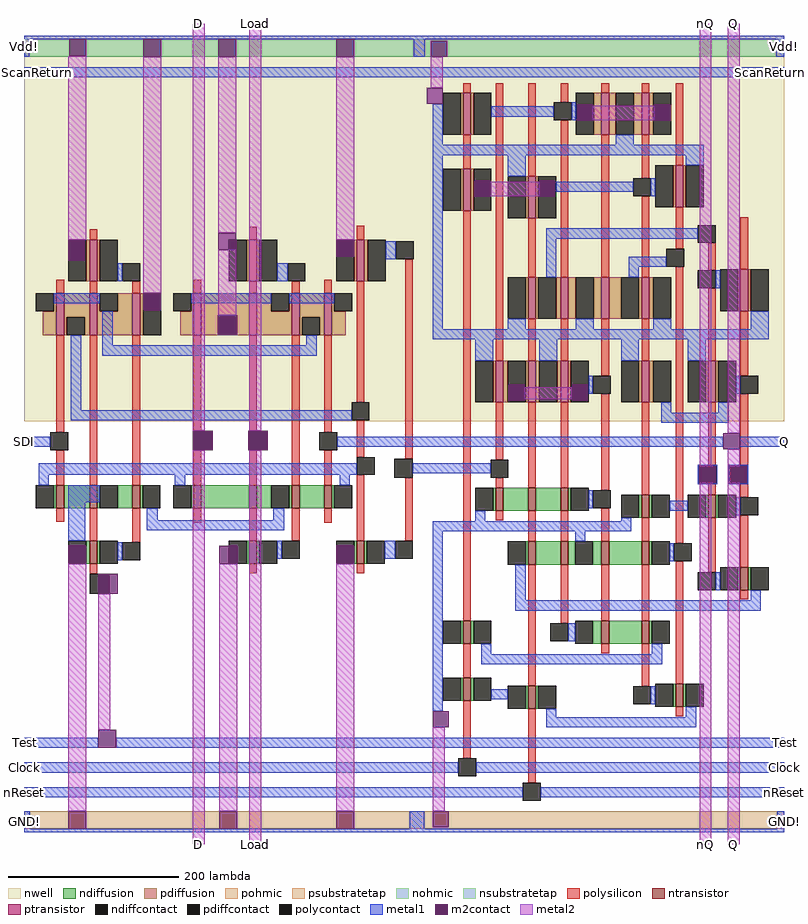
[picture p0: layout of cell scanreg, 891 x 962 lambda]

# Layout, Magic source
magic
tech tsmc180
<< nwell >>
rect 0 496 891 948
<< polysilicon >>
rect 515 881 524 892
rect 515 792 524 832
rect 77 709 86 721
rect 264 709 273 724
rect 390 709 399 725
rect 38 646 47 662
rect 77 646 86 660
rect 127 646 136 660
rect 199 646 208 662
rect 264 646 273 660
rect 314 646 323 660
rect 352 646 361 662
rect 38 483 47 597
rect 38 421 47 462
rect 77 421 86 597
rect 127 421 136 597
rect 199 485 208 597
rect 264 485 273 597
rect 199 421 208 462
rect 264 421 273 462
rect 314 421 323 597
rect 352 483 361 597
rect 390 518 399 660
rect 352 421 361 462
rect 390 454 399 497
rect 447 452 456 686
rect 38 378 47 394
rect 77 356 86 394
rect 127 354 136 394
rect 199 377 208 394
rect 264 356 273 394
rect 314 356 323 394
rect 352 377 361 394
rect 390 356 399 433
rect 447 356 456 430
rect 77 317 86 329
rect 264 318 273 329
rect 390 318 399 329
rect 515 262 524 743
rect 553 567 562 892
rect 591 783 600 892
rect 629 870 638 892
rect 677 881 686 892
rect 724 881 733 892
rect 591 665 600 734
rect 629 665 638 849
rect 677 665 686 832
rect 724 781 733 832
rect 764 796 773 892
rect 724 665 733 760
rect 764 698 773 747
rect 591 567 600 616
rect 629 567 638 616
rect 677 549 686 616
rect 724 567 733 616
rect 553 451 562 518
rect 553 418 562 430
rect 591 418 600 518
rect 629 418 638 518
rect 677 415 686 528
rect 724 410 733 518
rect 553 380 562 391
rect 591 355 600 391
rect 629 355 638 391
rect 677 355 686 394
rect 724 355 733 383
rect 764 353 773 677
rect 802 673 811 705
rect 840 674 849 735
rect 802 567 811 652
rect 840 549 849 625
rect 802 444 811 518
rect 840 444 849 528
rect 848 423 849 444
rect 802 410 811 423
rect 840 407 849 423
rect 515 195 524 235
rect 591 186 600 328
rect 629 259 638 328
rect 677 262 686 328
rect 724 262 733 328
rect 677 224 686 235
rect 515 101 524 168
rect 724 185 733 235
rect 764 188 773 332
rect 802 319 811 383
rect 840 325 849 386
rect 840 287 849 298
rect 591 72 600 159
rect 764 150 773 161
<< ndiffusion >>
rect 35 394 38 421
rect 47 394 77 421
rect 86 394 89 421
rect 110 394 127 421
rect 136 394 139 421
rect 196 394 199 421
rect 208 394 264 421
rect 273 394 290 421
rect 311 394 314 421
rect 323 394 352 421
rect 361 394 364 421
rect 73 329 77 356
rect 86 329 89 356
rect 261 329 264 356
rect 273 329 276 356
rect 387 329 390 356
rect 399 329 402 356
rect 550 391 553 418
rect 562 391 591 418
rect 600 391 629 418
rect 638 391 641 418
rect 721 383 724 410
rect 733 383 736 410
rect 588 328 591 355
rect 600 328 629 355
rect 638 328 646 355
rect 667 328 677 355
rect 686 328 724 355
rect 733 328 736 355
rect 799 383 802 410
rect 811 383 814 410
rect 512 235 515 262
rect 524 235 527 262
rect 512 168 515 195
rect 524 168 527 195
rect 667 235 677 262
rect 686 235 724 262
rect 733 235 736 262
rect 588 159 591 186
rect 600 159 603 186
rect 837 298 840 325
rect 849 298 852 325
rect 761 161 764 188
rect 773 161 776 188
<< pdiffusion >>
rect 512 832 515 881
rect 524 832 527 881
rect 512 743 515 792
rect 524 743 527 792
rect 73 660 77 709
rect 86 660 89 709
rect 261 660 264 709
rect 273 660 276 709
rect 387 660 390 709
rect 399 660 403 709
rect 35 625 38 646
rect 22 597 38 625
rect 47 618 77 646
rect 47 597 50 618
rect 71 597 77 618
rect 86 625 89 646
rect 110 625 127 646
rect 86 597 127 625
rect 136 597 140 646
rect 196 625 199 646
rect 183 597 199 625
rect 208 618 264 646
rect 208 597 228 618
rect 249 597 264 618
rect 273 625 290 646
rect 311 625 314 646
rect 273 597 314 625
rect 323 618 352 646
rect 323 597 326 618
rect 347 597 352 618
rect 361 625 364 646
rect 361 597 377 625
rect 588 734 591 783
rect 600 734 603 783
rect 668 832 677 881
rect 686 832 694 881
rect 715 832 724 881
rect 733 832 738 881
rect 761 747 764 796
rect 773 747 776 796
rect 588 616 591 665
rect 600 616 603 665
rect 624 616 629 665
rect 638 616 647 665
rect 668 616 677 665
rect 686 616 700 665
rect 721 616 724 665
rect 733 616 738 665
rect 550 518 553 567
rect 562 518 567 567
rect 588 518 591 567
rect 600 518 604 567
rect 625 518 629 567
rect 638 518 641 567
rect 721 518 724 567
rect 733 518 738 567
rect 837 625 840 674
rect 849 625 852 674
rect 799 518 802 567
rect 811 518 814 567
<< pohmic >>
rect 0 18 7 39
rect 452 18 469 39
rect 883 18 891 39
<< nohmic >>
rect 0 923 6 944
rect 457 923 470 944
rect 882 923 891 944
<< ntransistor >>
rect 38 394 47 421
rect 77 394 86 421
rect 127 394 136 421
rect 199 394 208 421
rect 264 394 273 421
rect 314 394 323 421
rect 352 394 361 421
rect 77 329 86 356
rect 264 329 273 356
rect 390 329 399 356
rect 553 391 562 418
rect 591 391 600 418
rect 629 391 638 418
rect 724 383 733 410
rect 591 328 600 355
rect 629 328 638 355
rect 677 328 686 355
rect 724 328 733 355
rect 802 383 811 410
rect 515 235 524 262
rect 515 168 524 195
rect 677 235 686 262
rect 724 235 733 262
rect 591 159 600 186
rect 840 298 849 325
rect 764 161 773 188
<< ptransistor >>
rect 515 832 524 881
rect 515 743 524 792
rect 77 660 86 709
rect 264 660 273 709
rect 390 660 399 709
rect 38 597 47 646
rect 77 597 86 646
rect 127 597 136 646
rect 199 597 208 646
rect 264 597 273 646
rect 314 597 323 646
rect 352 597 361 646
rect 591 734 600 783
rect 677 832 686 881
rect 724 832 733 881
rect 764 747 773 796
rect 591 616 600 665
rect 629 616 638 665
rect 677 616 686 665
rect 724 616 733 665
rect 553 518 562 567
rect 591 518 600 567
rect 629 518 638 567
rect 724 518 733 567
rect 840 625 849 674
rect 802 518 811 567
<< polycontact >>
rect 115 660 136 681
rect 309 660 330 681
rect 436 686 457 707
rect 31 462 52 483
rect 198 462 221 485
rect 263 462 286 485
rect 384 497 405 518
rect 346 462 367 483
rect 390 433 411 454
rect 434 430 456 452
rect 115 333 136 354
rect 302 335 323 356
rect 435 335 456 356
rect 77 294 100 317
rect 621 849 642 870
rect 714 760 735 781
rect 790 705 811 726
rect 753 677 774 698
rect 667 528 688 549
rect 547 430 568 451
rect 667 394 688 415
rect 790 652 811 673
rect 840 528 861 549
rect 791 423 812 444
rect 827 423 848 444
rect 840 386 861 407
rect 762 332 783 353
rect 617 238 638 259
rect 790 298 811 319
rect 714 164 735 185
rect 509 80 530 101
rect 585 51 606 72
<< ndiffcontact >>
rect 14 394 35 421
rect 89 394 110 421
rect 139 394 160 421
rect 175 394 196 421
rect 290 394 311 421
rect 364 394 385 421
rect 52 329 73 356
rect 89 329 110 356
rect 240 329 261 356
rect 276 329 297 356
rect 366 329 387 356
rect 402 329 423 356
rect 529 391 550 418
rect 641 391 662 418
rect 700 383 721 410
rect 736 383 757 410
rect 567 328 588 355
rect 646 328 667 355
rect 736 328 757 355
rect 778 383 799 410
rect 814 383 835 410
rect 491 235 512 262
rect 527 235 548 262
rect 491 168 512 195
rect 527 168 548 195
rect 646 235 667 262
rect 736 235 757 262
rect 567 159 588 186
rect 603 159 624 186
rect 816 298 837 325
rect 852 298 873 325
rect 740 161 761 188
rect 776 161 797 188
<< pdiffcontact >>
rect 491 832 512 881
rect 527 832 548 881
rect 491 743 512 792
rect 527 743 548 792
rect 52 660 73 709
rect 89 660 110 709
rect 240 660 261 709
rect 276 660 297 709
rect 366 660 387 709
rect 403 660 424 709
rect 14 625 35 646
rect 50 597 71 618
rect 89 625 110 646
rect 140 597 161 646
rect 175 625 196 646
rect 228 597 249 618
rect 290 625 311 646
rect 326 597 347 618
rect 364 625 385 646
rect 567 734 588 783
rect 603 734 624 783
rect 647 832 668 881
rect 694 832 715 881
rect 738 832 759 881
rect 740 747 761 796
rect 776 747 797 796
rect 567 616 588 665
rect 603 616 624 665
rect 647 616 668 665
rect 700 616 721 665
rect 738 616 759 665
rect 529 518 550 567
rect 567 518 588 567
rect 604 518 625 567
rect 641 518 662 567
rect 700 518 721 567
rect 738 518 759 567
rect 816 625 837 674
rect 852 625 873 674
rect 778 518 799 567
rect 814 518 835 567
<< psubstratetap >>
rect 7 18 452 39
rect 469 18 883 39
<< nsubstratetap >>
rect 6 923 457 944
rect 470 923 882 944
<< metal1 >>
rect 0 944 891 948
rect 0 923 6 944
rect 457 923 470 944
rect 882 923 891 944
rect 0 899 891 911
rect 479 820 491 868
rect 548 853 621 865
rect 642 849 647 870
rect 694 820 715 832
rect 479 808 797 820
rect 110 660 115 681
rect 297 660 309 681
rect 424 686 436 707
rect 35 634 89 646
rect 55 509 67 597
rect 92 585 104 625
rect 196 634 290 646
rect 311 634 364 646
rect 479 604 491 808
rect 567 783 588 808
rect 776 796 797 808
rect 624 765 714 777
rect 735 760 740 781
rect 612 710 790 722
rect 612 665 624 710
rect 709 677 753 689
rect 709 665 721 677
rect 811 652 816 673
rect 567 604 588 616
rect 647 604 668 616
rect 738 604 759 616
rect 852 604 873 625
rect 331 585 343 597
rect 479 592 873 604
rect 92 573 343 585
rect 529 567 550 592
rect 604 567 625 592
rect 700 567 721 592
rect 778 567 799 592
rect 662 528 667 549
rect 835 528 840 549
rect 55 497 384 509
rect 747 506 759 518
rect 814 506 826 518
rect 747 494 826 506
rect 0 466 31 478
rect 367 466 820 478
rect 839 466 891 478
rect 17 433 390 447
rect 17 421 29 433
rect 177 421 189 433
rect 370 421 382 433
rect 456 435 547 447
rect 790 444 813 445
rect 790 423 791 444
rect 812 423 813 444
rect 790 422 813 423
rect 826 444 849 445
rect 826 423 827 444
rect 848 423 849 444
rect 826 422 849 423
rect 52 401 89 421
rect 52 356 72 401
rect 144 380 157 394
rect 292 380 305 394
rect 144 368 305 380
rect 662 394 667 415
rect 529 379 541 391
rect 757 391 778 403
rect 835 386 840 407
rect 700 379 712 383
rect 479 367 712 379
rect 110 333 115 354
rect 297 335 302 356
rect 423 335 435 356
rect 479 156 491 367
rect 646 355 658 367
rect 757 332 762 353
rect 576 286 588 328
rect 811 298 816 319
rect 852 286 864 298
rect 576 274 864 286
rect 638 238 646 259
rect 536 223 548 235
rect 736 223 748 235
rect 536 211 748 223
rect 548 170 567 182
rect 735 164 740 185
rect 612 149 624 159
rect 776 149 788 161
rect 612 137 788 149
rect 0 113 87 125
rect 108 113 891 125
rect 0 84 509 96
rect 530 84 891 96
rect 0 55 585 67
rect 606 55 891 67
rect 0 18 7 39
rect 452 18 469 39
rect 883 18 891 39
rect 0 14 891 18
<< m2contact >>
rect 53 924 73 944
rect 140 923 161 944
rect 228 923 249 944
rect 366 923 387 944
rect 477 923 496 942
rect 472 868 491 887
rect 648 848 667 867
rect 739 848 758 867
rect 228 709 249 717
rect 52 684 72 709
rect 228 697 240 709
rect 240 697 249 709
rect 366 689 387 709
rect 140 626 161 646
rect 227 618 250 620
rect 227 597 228 618
rect 228 597 249 618
rect 249 597 250 618
rect 528 759 547 778
rect 604 759 623 778
rect 568 520 587 539
rect 642 520 661 539
rect 198 462 221 485
rect 263 462 286 485
rect 820 463 839 482
rect 792 424 811 443
rect 828 424 847 443
rect 52 329 73 350
rect 229 329 240 350
rect 240 329 250 350
rect 366 329 387 350
rect 87 294 100 317
rect 100 294 110 317
rect 479 137 498 156
rect 87 113 108 134
rect 52 18 73 39
rect 229 18 250 39
rect 366 18 387 39
rect 479 20 498 39
<< metal2 >>
rect 52 709 73 924
rect 140 646 161 923
rect 198 485 212 962
rect 228 717 249 923
rect 228 620 249 697
rect 264 485 278 962
rect 366 709 387 923
rect 477 887 491 923
rect 667 849 739 866
rect 547 760 604 777
rect 587 522 642 536
rect 52 39 73 329
rect 87 134 101 294
rect 198 0 212 462
rect 229 39 250 329
rect 264 0 278 462
rect 792 444 806 962
rect 825 482 839 962
rect 792 443 808 444
rect 825 443 839 463
rect 825 424 828 443
rect 792 423 808 424
rect 366 39 387 329
rect 479 39 493 137
rect 792 0 806 423
rect 825 0 839 424
<< labels >>
rlabel metal1 0 923 0 948 3 Vdd!
rlabel metal1 0 14 0 39 3 GND!
rlabel metal1 0 466 0 478 3 SDI
rlabel metal1 0 55 0 67 3 nReset
rlabel metal1 0 84 0 96 3 Clock
rlabel metal1 0 113 0 125 3 Test
rlabel metal1 0 899 0 911 3 ScanReturn
rlabel metal1 891 899 891 911 7 ScanReturn
rlabel metal1 891 923 891 948 7 Vdd!
rlabel metal1 891 55 891 67 7 nReset
rlabel metal1 891 84 891 96 7 Clock
rlabel metal1 891 14 891 39 7 GND!
rlabel metal1 891 466 891 478 7 Q
rlabel metal1 891 113 891 125 7 Test
rlabel metal2 198 962 212 962 5 D
rlabel metal2 264 962 278 962 5 Load
rlabel metal2 792 962 806 962 5 nQ
rlabel metal2 825 962 839 962 5 Q
rlabel metal2 792 0 806 0 1 nQ
rlabel metal2 825 0 839 0 1 Q
rlabel metal2 198 0 212 0 1 D
rlabel metal2 264 0 278 0 1 Load
<< end >>
